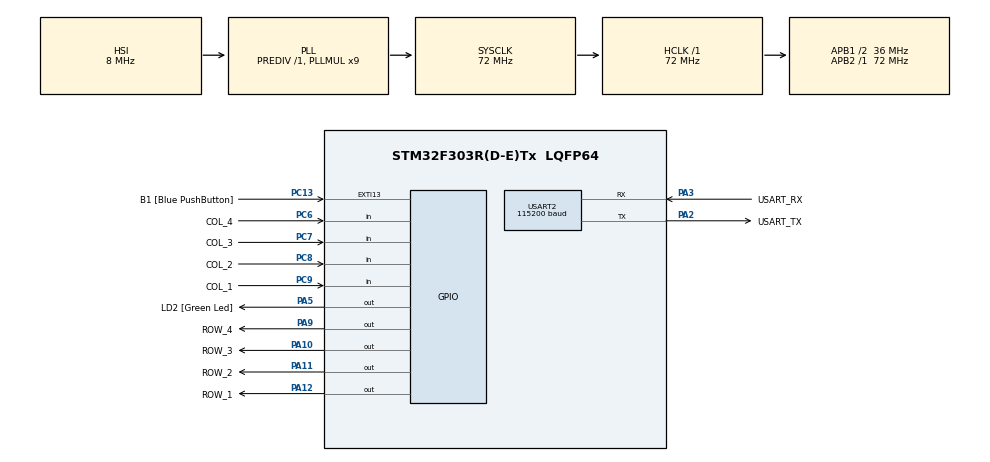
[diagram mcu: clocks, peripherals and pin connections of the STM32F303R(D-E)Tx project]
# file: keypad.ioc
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Mcu.Family=STM32F3
Mcu.Name=STM32F303R(D-E)Tx
Mcu.Package=LQFP64
NVIC.PriorityGroup=NVIC_PRIORITYGROUP_0
PA10.GPIO_Label=ROW_3
PA10.Signal=GPIO_Output
PA11.GPIO_Label=ROW_2
PA11.Signal=GPIO_Output
PA12.GPIO_Label=ROW_1
PA12.GPIO_PuPd=GPIO_NOPULL
PA12.Signal=GPIO_Output
PA13.GPIO_Label=TMS
PA13.Mode=Serial_Wire
PA13.Signal=SYS_JTMS-SWDIO
PA14.GPIO_Label=TCK
PA14.Mode=Serial_Wire
PA14.Signal=SYS_JTCK-SWCLK
PA2.GPIO_Label=USART_TX
PA2.GPIO_Mode=GPIO_MODE_AF_PP
PA2.GPIO_PuPd=GPIO_NOPULL
PA2.GPIO_Speed=GPIO_SPEED_FREQ_LOW
PA2.Mode=Asynchronous
PA2.Signal=USART2_TX
PA3.GPIO_Label=USART_RX
PA3.GPIO_Mode=GPIO_MODE_AF_PP
PA3.GPIO_PuPd=GPIO_NOPULL
PA3.GPIO_Speed=GPIO_SPEED_FREQ_LOW
PA3.Mode=Asynchronous
PA3.Signal=USART2_RX
PA5.GPIO_Label=LD2 [Green Led]
PA5.GPIO_Mode=GPIO_MODE_OUTPUT_PP
PA5.GPIO_PuPd=GPIO_NOPULL
PA5.GPIO_Speed=GPIO_SPEED_FREQ_LOW
PA5.Signal=GPIO_Output
PA9.GPIO_Label=ROW_4
PA9.Signal=GPIO_Output
PB3.GPIO_Label=SWO
PB3.Signal=SYS_JTDO-TRACESWO
PC13.GPIO_Label=B1 [Blue PushButton]
PC13.GPIO_ModeDefaultEXTI=GPIO_MODE_IT_FALLING
PC13.Signal=GPXTI13
PC14-OSC32_IN.Mode=LSE-External-Oscillator
PC14-OSC32_IN.Signal=RCC_OSC32_IN
PC15-OSC32_OUT.Mode=LSE-External-Oscillator
PC15-OSC32_OUT.Signal=RCC_OSC32_OUT
PC6.GPIO_Label=COL_4
PC6.GPIO_PuPd=GPIO_PULLUP
PC6.Signal=GPIO_Input
PC7.GPIO_Label=COL_3
PC7.GPIO_PuPd=GPIO_PULLUP
PC7.Signal=GPIO_Input
PC8.GPIO_Label=COL_2
PC8.GPIO_PuPd=GPIO_PULLUP
PC8.Signal=GPIO_Input
PC9.GPIO_Label=COL_1
PC9.GPIO_PuPd=GPIO_PULLUP
PC9.Signal=GPIO_Input
PF0-OSC_IN.Mode=HSE-External-Clock-Source
PF0-OSC_IN.Signal=RCC_OSC_IN
PF1-OSC_OUT.Signal=RCC_OSC_OUT
ProjectManager.HeapSize=0x200
ProjectManager.StackSize=0x400
ProjectManager.TargetToolchain=STM32CubeIDE
RCC.AHBFreq_Value=72000000
RCC.APB1CLKDivider=RCC_HCLK_DIV2
RCC.APB1Freq_Value=36000000
RCC.APB1TimFreq_Value=72000000
RCC.APB2Freq_Value=72000000
RCC.APB2TimFreq_Value=72000000
RCC.CortexFreq_Value=72000000
RCC.HCLKFreq_Value=72000000
RCC.HSE_VALUE=8000000
RCC.HSI_VALUE=8000000
RCC.PLLM=8
RCC.PLLMUL=RCC_PLL_MUL9
RCC.PLLN=336
RCC.PLLP=RCC_PLLP_DIV4
RCC.PLLQ=7
RCC.RCC_PLLsource_Clock_Source_FROM_HSE=RCC_HSE_PREDIV_DIV2
RCC.SYSCLKFreq_VALUE=72000000
RCC.SYSCLKSourceVirtual=RCC_SYSCLKSOURCE_PLLCLK
RCC.USBFreq_Value=72000000
USART2.BaudRate=115200
USART2.VirtualMode-Asynchronous=VM_ASYNC
board=NUCLEO-F303RE

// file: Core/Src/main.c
/* USER CODE BEGIN Header */
/**
  ******************************************************************************
  * @file           : main.c
  * @brief          : Main program body
  ******************************************************************************
  * @attention
  *
  * <h2><center>&copy; Copyright (c) 2021 STMicroelectronics.
  * All rights reserved.</center></h2>
  *
  * This software component is licensed by ST under BSD 3-Clause license,
  * the "License"; You may not use this file except in compliance with the
  * License. You may obtain a copy of the License at:
  *                        opensource.org/licenses/BSD-3-Clause
  *
  ******************************************************************************
  */
/* USER CODE END Header */
#include "main.h"
#include "usart.h"
#include "gpio.h"

/* USER CODE BEGIN Includes */
#include <stdio.h>
#include "keypad.h"
/* USER CODE END Includes */

/* USER CODE BEGIN PV */

char znak;
uint32_t time_counter=0;
int cnt = 0;
/* USER CODE END PV */

void SystemClock_Config(void);

/* Private user code -------------------------------
 * --------------------------*/

int main(void)
{

  /* MCU Configuration--------------------------------------------------------*/

  /* Reset of all peripherals, Initializes the Flash interface and the Systick. */
  HAL_Init();

  /* Configure the system clock */
  SystemClock_Config();

  /* Initialize all configured peripherals */
  MX_GPIO_Init();
  MX_USART2_UART_Init();

  /* Infinite loop */
  /* USER CODE BEGIN WHILE */
  while (1)
  {
	  uint16_t size = 0;
	  static char i;
	  znak = ReadKeypad();
	  if(znak != '\0'){
		  cnt++;
		  i = znak;
	  }
	  char message[10];
	  size = sprintf(message,"%c %d\r\n",i, cnt);

	  if(HAL_GetTick() - time_counter > 500){
		  HAL_UART_Transmit(&huart2, (uint8_t*)message, size, 1000);
		  time_counter = HAL_GetTick();
	  }

    /* USER CODE END WHILE */

  }
}

void SystemClock_Config(void)
{
  RCC_OscInitTypeDef RCC_OscInitStruct = {0};
  RCC_ClkInitTypeDef RCC_ClkInitStruct = {0};
  RCC_PeriphCLKInitTypeDef PeriphClkInit = {0};

  /** Initializes the RCC Oscillators according to the specified parameters
  * in the RCC_OscInitTypeDef structure.
  */
  RCC_OscInitStruct.OscillatorType = RCC_OSCILLATORTYPE_HSI;
  RCC_OscInitStruct.HSIState = RCC_HSI_ON;
  RCC_OscInitStruct.HSICalibrationValue = RCC_HSICALIBRATION_DEFAULT;
  RCC_OscInitStruct.PLL.PLLState = RCC_PLL_ON;
  RCC_OscInitStruct.PLL.PLLSource = RCC_PLLSOURCE_HSI;
  RCC_OscInitStruct.PLL.PLLMUL = RCC_PLL_MUL9;
  RCC_OscInitStruct.PLL.PREDIV = RCC_PREDIV_DIV1;
  if (HAL_RCC_OscConfig(&RCC_OscInitStruct) != HAL_OK)
  {
    Error_Handler();
  }
  /** Initializes the CPU, AHB and APB buses clocks
  */
  RCC_ClkInitStruct.ClockType = RCC_CLOCKTYPE_HCLK|RCC_CLOCKTYPE_SYSCLK
                              |RCC_CLOCKTYPE_PCLK1|RCC_CLOCKTYPE_PCLK2;
  RCC_ClkInitStruct.SYSCLKSource = RCC_SYSCLKSOURCE_PLLCLK;
  RCC_ClkInitStruct.AHBCLKDivider = RCC_SYSCLK_DIV1;
  RCC_ClkInitStruct.APB1CLKDivider = RCC_HCLK_DIV2;
  RCC_ClkInitStruct.APB2CLKDivider = RCC_HCLK_DIV1;

  if (HAL_RCC_ClockConfig(&RCC_ClkInitStruct, FLASH_LATENCY_2) != HAL_OK)
  {
    Error_Handler();
  }
  PeriphClkInit.PeriphClockSelection = RCC_PERIPHCLK_USART2;
  PeriphClkInit.Usart2ClockSelection = RCC_USART2CLKSOURCE_PCLK1;
  if (HAL_RCCEx_PeriphCLKConfig(&PeriphClkInit) != HAL_OK)
  {
    Error_Handler();
  }
}

void Error_Handler(void)
{
}

/************************ (C) COPYRIGHT STMicroelectronics *****END OF FILE****/
